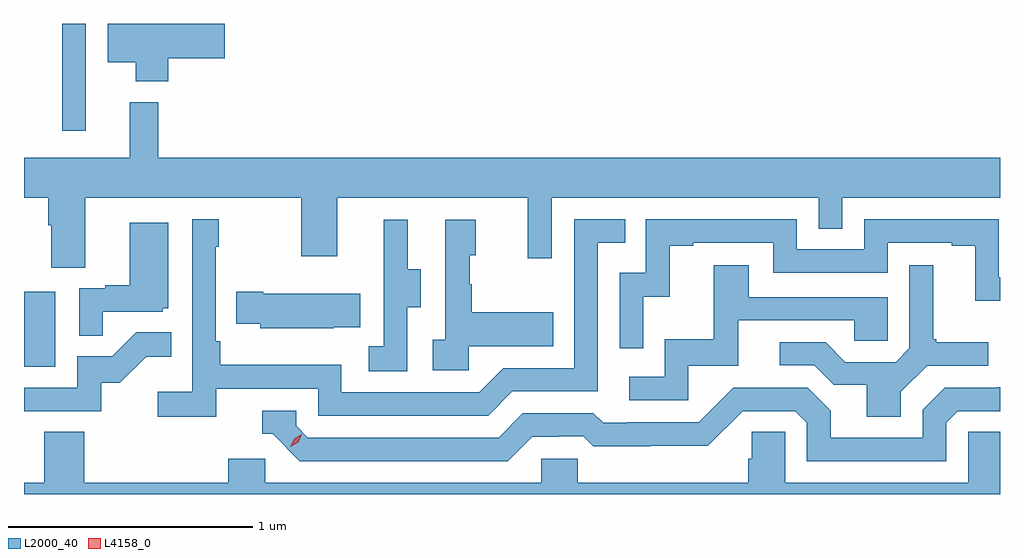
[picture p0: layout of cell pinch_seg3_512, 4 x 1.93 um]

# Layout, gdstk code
import gdstk
lib = gdstk.Library(unit=1e-6, precision=1e-09)
def R(c, l, rs):  # rectangles x0, y0, x1, y1
    for r in rs: c.add(gdstk.rectangle(r[:2], r[2:], *l))
def P(c, l, *ps):  # polygons
    for p in ps: c.add(gdstk.Polygon(p, *l))
L2000_40 = (2000, 40)
L4158_0 = (4158, 0)

pinch_seg3_512 = lib.new_cell('pinch_seg3_512')
R(pinch_seg3_512, L2000_40, [(972.547,666.924,972.676,667.231), (972.704,667.89,972.801,668.33)])
P(pinch_seg3_512, L2000_40, [(973.139,668.188),(973.369,668.188),(973.369,668.33),(972.89,668.33),(972.89,668.171),(973.004,668.171),(973.004,668.093),(973.139,668.093)],
  [(972.799,667.616),(973.684,667.616),(973.684,667.377),(973.831,667.377),(973.831,667.616),(974.612,667.616),(974.612,667.368),(974.709,667.368),(974.709,667.616),(975.804,667.616),(975.804,667.489),(975.9,667.489),(975.9,667.616),(976.547,667.616),(976.547,667.78),(973.097,667.78),(973.097,668.008),(972.98,668.008),(972.98,667.78),(972.547,667.78),(972.547,667.616),(972.647,667.616),(972.647,667.504),(972.659,667.504),(972.659,667.33),(972.799,667.33)],
  [(973.334,666.834),(973.752,666.834),(973.752,666.723),(974.449,666.723),(974.548,666.822),(974.898,666.822),(974.898,667.431),(975.011,667.431),(975.011,667.527),(974.802,667.527),(974.802,666.918),(974.511,666.918),(974.412,666.819),(973.848,666.819),(973.848,666.931),(973.352,666.931),(973.352,667.027),(973.332,667.027),(973.332,667.415),(973.345,667.415),(973.345,667.528),(973.236,667.528),(973.236,666.82),(973.095,666.82),(973.095,666.718),(973.334,666.718)],
  [(975.084,667.211),(975.194,667.211),(975.194,667.419),(975.289,667.419),(975.289,667.431),(975.618,667.431),(975.618,667.308),(976.086,667.308),(976.086,667.431),(976.349,667.431),(976.349,667.419),(976.445,667.419),(976.445,667.193),(976.547,667.193),(976.547,667.291),(976.542,667.291),(976.542,667.527),(975.99,667.527),(975.99,667.404),(975.714,667.404),(975.714,667.527),(975.096,667.527),(975.096,667.308),(974.988,667.308),(974.988,666.999),(975.084,666.999)],
  [(974.37,667.007),(974.717,667.007),(974.717,667.147),(974.383,667.147),(974.383,667.262),(974.373,667.262),(974.373,667.38),(974.398,667.38),(974.398,667.525),(974.274,667.525),(974.274,667.034),(974.223,667.034),(974.223,666.909),(974.37,666.909)],
  [(974.118,667.168),(974.173,667.168),(974.173,667.323),(974.119,667.323),(974.119,667.525),(974.021,667.525),(974.021,667.311),(974.022,667.311),(974.022,667.007),(973.959,667.007),(973.959,666.904),(974.118,666.904)],
  [(972.869,667.149),(973.116,667.149),(973.116,667.164),(973.138,667.164),(973.138,667.513),(972.98,667.513),(972.98,667.258),(972.881,667.258),(972.881,667.245),(972.774,667.245),(972.774,667.051),(972.869,667.051)],
  [(975.27,666.927),(975.475,666.927),(975.475,667.113),(975.949,667.113),(975.949,667.029),(976.086,667.029),(976.086,667.209),(975.517,667.209),(975.517,667.339),(975.373,667.339),(975.373,667.036),(975.174,667.036),(975.174,666.882),(975.027,666.882),(975.027,666.786),(975.27,666.786)],
  [(976.141,666.82),(976.248,666.927),(976.498,666.927),(976.498,667.024),(976.285,667.024),(976.285,667.036),(976.273,667.036),(976.273,667.339),(976.176,667.339),(976.176,666.999),(976.119,666.942),(975.913,666.942),(975.832,667.023),(975.645,667.023),(975.645,666.93),(975.786,666.93),(975.866,666.85),(976.001,666.85),(976.001,666.718),(976.141,666.718)],
  [(973.817,667.085),(973.925,667.085),(973.925,667.222),(973.528,667.222),(973.528,667.23),(973.417,667.23),(973.417,667.1),(973.515,667.1),(973.515,667.082),(973.817,667.082)],
  [(972.864,666.858),(972.94,666.858),(973.047,666.965),(973.151,666.965),(973.151,667.064),(973.007,667.064),(972.909,666.966),(972.765,666.966),(972.765,666.837),(972.547,666.837),(972.547,666.741),(972.864,666.741)],
  [(974.629,666.636),(974.736,666.636),(974.736,666.639),(974.839,666.639),(974.881,666.597),(975.114,666.597),(975.114,666.599),(975.35,666.599),(975.492,666.741),(975.708,666.741),(975.756,666.693),(975.756,666.537),(976.326,666.537),(976.326,666.693),(976.374,666.741),(976.547,666.741),(976.547,666.839),(976.536,666.839),(976.536,666.837),(976.32,666.837),(976.23,666.747),(976.23,666.633),(975.853,666.633),(975.853,666.743),(975.759,666.837),(975.453,666.837),(975.312,666.696),(975.019,666.696),(975.019,666.693),(974.92,666.693),(974.881,666.732),(974.592,666.732),(974.493,666.633),(973.71,666.633),(973.662,666.681),(973.662,666.744),(973.523,666.744),(973.523,666.648),(973.566,666.648),(973.677,666.537),(974.53,666.537)],
  [(976.547,666.656),(976.416,666.656),(976.416,666.448),(975.666,666.448),(975.666,666.656),(975.529,666.656),(975.529,666.546),(975.515,666.546),(975.515,666.448),(974.817,666.448),(974.817,666.546),(974.667,666.546),(974.667,666.448),(973.536,666.448),(973.536,666.546),(973.385,666.546),(973.385,666.448),(972.794,666.448),(972.794,666.656),(972.629,666.656),(972.629,666.448),(972.547,666.448),(972.547,666.4),(976.547,666.4)])
P(pinch_seg3_512, L4158_0, [(973.639,666.595),(973.639,666.595),(973.655,666.628),(973.685,666.647),(973.686,666.647),(973.686,666.647),(973.67,666.614),(973.639,666.595)])

lib.write_gds('pinch_seg3_512.gds')
